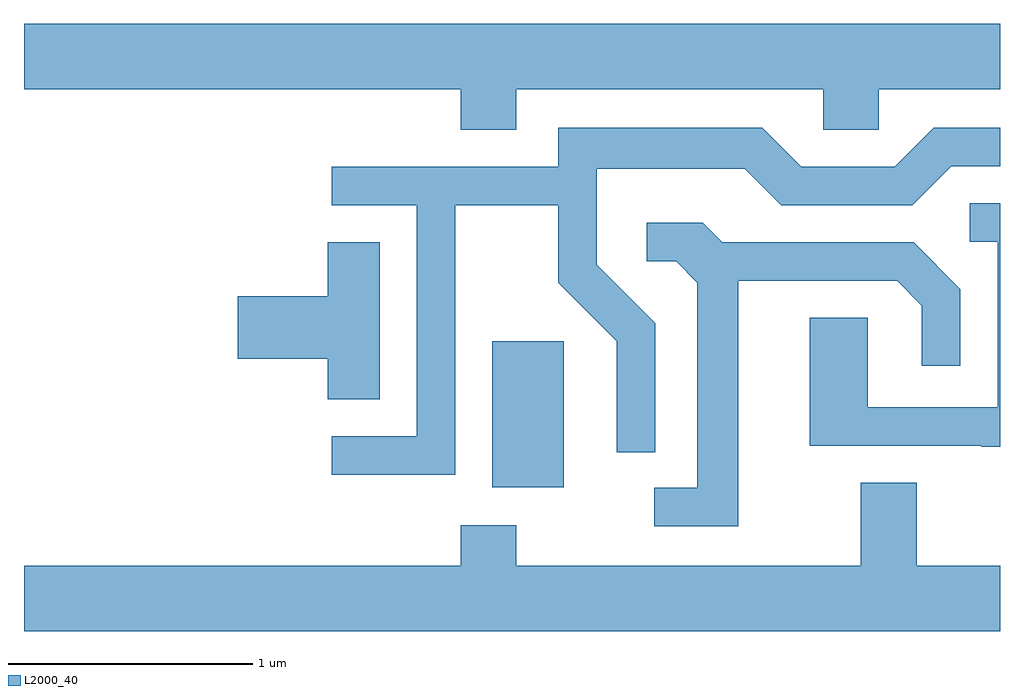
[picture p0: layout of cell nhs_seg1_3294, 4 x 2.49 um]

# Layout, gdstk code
import gdstk
lib = gdstk.Library(unit=1e-6, precision=1e-09)
def R(c, l, rs):  # rectangles x0, y0, x1, y1
    for r in rs: c.add(gdstk.rectangle(r[:2], r[2:], *l))
def P(c, l, *ps):  # polygons
    for p in ps: c.add(gdstk.Polygon(p, *l))
L2000_40 = (2000, 40)

nhs_seg1_3294 = lib.new_cell('nhs_seg1_3294')
R(nhs_seg1_3294, L2000_40, [(285.531,975.646,285.824,976.244)])
P(nhs_seg1_3294, L2000_40, [(285.629,977.276),(286.886,977.276),(286.886,977.111),(287.114,977.111),(287.114,977.276),(287.611,977.276),(287.611,977.544),(283.611,977.544),(283.611,977.276),(285.401,977.276),(285.401,977.111),(285.629,977.111)],
  [(285.379,976.801),(285.801,976.801),(285.801,976.484),(286.041,976.244),(286.041,975.788),(286.199,975.788),(286.199,976.317),(285.959,976.557),(285.959,976.951),(286.564,976.951),(286.714,976.801),(287.252,976.801),(287.412,976.961),(287.611,976.961),(287.611,977.119),(287.339,977.119),(287.179,976.959),(286.797,976.959),(286.637,977.119),(285.801,977.119),(285.801,976.959),(284.873,976.959),(284.873,976.801),(285.221,976.801),(285.221,975.854),(284.873,975.854),(284.873,975.696),(285.379,975.696)],
  [(287.611,976.809),(287.488,976.809),(287.488,976.651),(287.601,976.651),(287.601,975.974),(287.069,975.974),(287.069,976.339),(286.831,976.339),(286.831,975.816),(287.535,975.816),(287.535,975.811),(287.611,975.811)],
  [(286.539,976.491),(287.189,976.491),(287.291,976.389),(287.291,976.143),(287.449,976.143),(287.449,976.457),(287.257,976.649),(286.472,976.649),(286.392,976.729),(286.163,976.729),(286.163,976.571),(286.284,976.571),(286.371,976.484),(286.371,975.644),(286.193,975.644),(286.193,975.486),(286.539,975.486)],
  [(285.069,976.649),(284.856,976.649),(284.856,976.429),(284.486,976.429),(284.486,976.171),(284.856,976.171),(284.856,976.006),(285.069,976.006)],
  [(287.611,975.324),(287.269,975.324),(287.269,975.664),(287.041,975.664),(287.041,975.324),(285.629,975.324),(285.629,975.489),(285.401,975.489),(285.401,975.324),(283.611,975.324),(283.611,975.056),(287.611,975.056)])

lib.write_gds('nhs_seg1_3294.gds')
